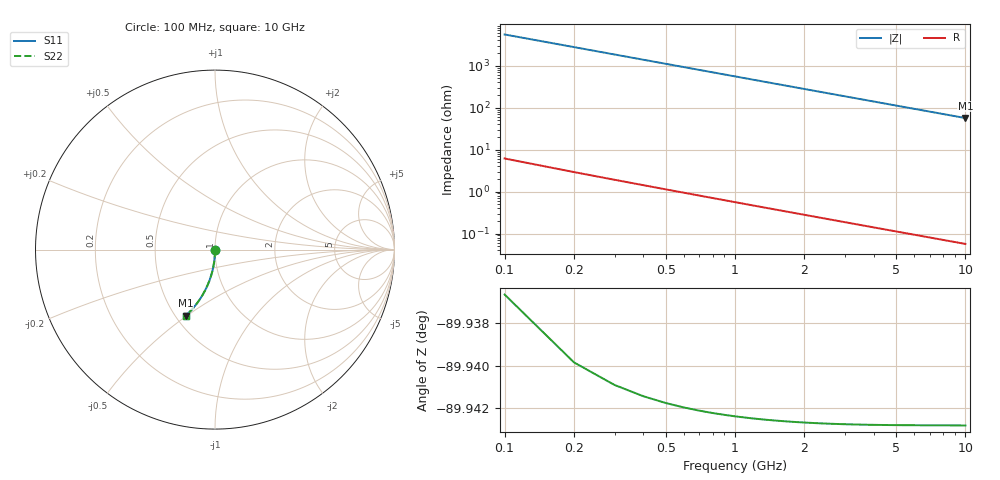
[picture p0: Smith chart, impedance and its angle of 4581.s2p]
# Hz S RI R 50.00
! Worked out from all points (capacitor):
!   100 points, 100 MHz to 10 GHz, reference 50 ohm
!   read as one part in shunt: C = 286 fF near 100 MHz
!   lowest |Z| = 56.6 ohm at 10 GHz (marker M1)
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1e8  -2.39e-05 -0.00449  1 -0.00451  1 -0.00451  -2.39e-05 -0.00449
2e8  -8.91e-05 -0.00898  0.9999 -0.00902  0.9999 -0.00902  -8.91e-05 -0.00898
3e8  -0.000195 -0.0135  0.9998 -0.0135  0.9998 -0.0135  -0.000195 -0.0135
4e8  -0.000341 -0.018  0.9997 -0.018  0.9997 -0.018  -0.000341 -0.018
5e8  -0.000527 -0.0224  0.9995 -0.0225  0.9995 -0.0225  -0.000527 -0.0224
6e8  -0.000753 -0.0269  0.9992 -0.027  0.9992 -0.027  -0.000753 -0.0269
7e8  -0.00102 -0.0314  0.999 -0.0315  0.999 -0.0315  -0.00102 -0.0314
8e8  -0.00133 -0.0358  0.9987 -0.036  0.9987 -0.036  -0.00133 -0.0358
9e8  -0.00167 -0.0403  0.9983 -0.0405  0.9983 -0.0405  -0.00167 -0.0403
1.1e9  -0.00248 -0.0492  0.9975 -0.0494  0.9975 -0.0494  -0.00248 -0.0492
1.4e9  -0.004 -0.0625  0.996 -0.0627  0.996 -0.0627  -0.004 -0.0625
1.8e9  -0.00655 -0.08  0.9934 -0.0803  0.9934 -0.0803  -0.00655 -0.08
2.1e9  -0.00887 -0.0931  0.9911 -0.0934  0.9911 -0.0934  -0.00887 -0.0931
2.5e9  -0.0125 -0.1103  0.9875 -0.1107  0.9875 -0.1107  -0.0125 -0.1103
2.9e9  -0.0167 -0.1273  0.9833 -0.1278  0.9833 -0.1278  -0.0167 -0.1273
3.4e9  -0.0227 -0.1481  0.9773 -0.1487  0.9773 -0.1487  -0.0227 -0.1481
4.2e9  -0.034 -0.1805  0.966 -0.1812  0.966 -0.1812  -0.034 -0.1805
5.1e9  -0.0492 -0.2153  0.9508 -0.2162  0.9508 -0.2162  -0.0492 -0.2153
5.9e9  -0.0645 -0.2447  0.9355 -0.2458  0.9355 -0.2458  -0.0645 -0.2447
6.7e9  -0.0815 -0.2725  0.9185 -0.2737  0.9185 -0.2737  -0.0815 -0.2725
8.4e9  -0.1218 -0.3258  0.8782 -0.3274  0.8782 -0.3274  -0.1218 -0.3258
1e10  -0.1638 -0.3687  0.8362 -0.3705  0.8362 -0.3705  -0.1638 -0.3687
